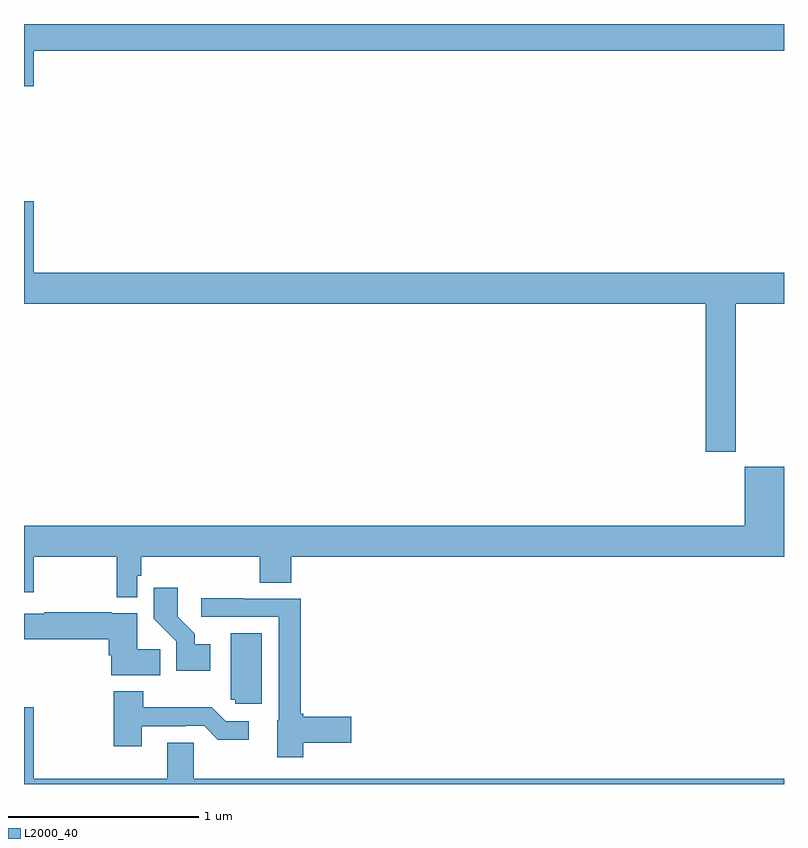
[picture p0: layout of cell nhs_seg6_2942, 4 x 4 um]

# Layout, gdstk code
import gdstk
lib = gdstk.Library(unit=1e-6, precision=1e-09)
def P(c, l, *ps):  # polygons
    for p in ps: c.add(gdstk.Polygon(p, *l))
L2000_40 = (2000, 40)

nhs_seg6_2942 = lib.new_cell('nhs_seg6_2942')
P(nhs_seg6_2942, L2000_40, [(285.052,923.36),(289,923.36),(289,923.5),(285,923.5),(285,923.172),(285.052,923.172)],
  [(288.747,922.028),(289,922.028),(289,922.192),(285.052,922.192),(285.052,922.567),(285,922.567),(285,922.028),(288.587,922.028),(288.587,921.249),(288.747,921.249)],
  [(285.597,920.595),(285.617,920.595),(285.617,920.696),(286.241,920.696),(286.241,920.56),(286.406,920.56),(286.406,920.696),(289,920.696),(289,921.169),(288.794,921.169),(288.794,920.86),(285,920.86),(285,920.508),(285.052,920.508),(285.052,920.696),(285.489,920.696),(285.489,920.483),(285.597,920.483)],
  [(285.979,920.236),(285.898,920.236),(285.898,920.291),(285.808,920.381),(285.808,920.533),(285.682,920.533),(285.682,920.37),(285.801,920.251),(285.801,920.096),(285.979,920.096)],
  [(286.47,919.718),(286.723,919.718),(286.723,919.853),(286.47,919.853),(286.47,919.871),(286.457,919.871),(286.457,920.475),(286.157,920.475),(286.157,920.478),(285.933,920.478),(285.933,920.379),(286.341,920.379),(286.341,919.836),(286.334,919.836),(286.334,919.64),(286.47,919.64)],
  [(285.716,920.21),(285.595,920.21),(285.595,920.398),(285.462,920.398),(285.462,920.403),(285.106,920.403),(285.106,920.395),(285,920.395),(285,920.261),(285.446,920.261),(285.446,920.177),(285.458,920.177),(285.458,920.072),(285.716,920.072)],
  [(286.252,920.293),(286.088,920.293),(286.088,919.944),(286.113,919.944),(286.113,919.923),(286.252,919.923)],
  [(285.619,919.803),(285.848,919.803),(285.848,919.806),(285.948,919.806),(286.021,919.733),(286.183,919.733),(286.183,919.83),(286.062,919.83),(285.989,919.903),(285.627,919.903),(285.627,919.987),(285.472,919.987),(285.472,919.698),(285.619,919.698)],
  [(289,919.528),(285.894,919.528),(285.894,919.718),(285.755,919.718),(285.755,919.528),(285.052,919.528),(285.052,919.903),(285,919.903),(285,919.5),(289,919.5)])

lib.write_gds('nhs_seg6_2942.gds')
